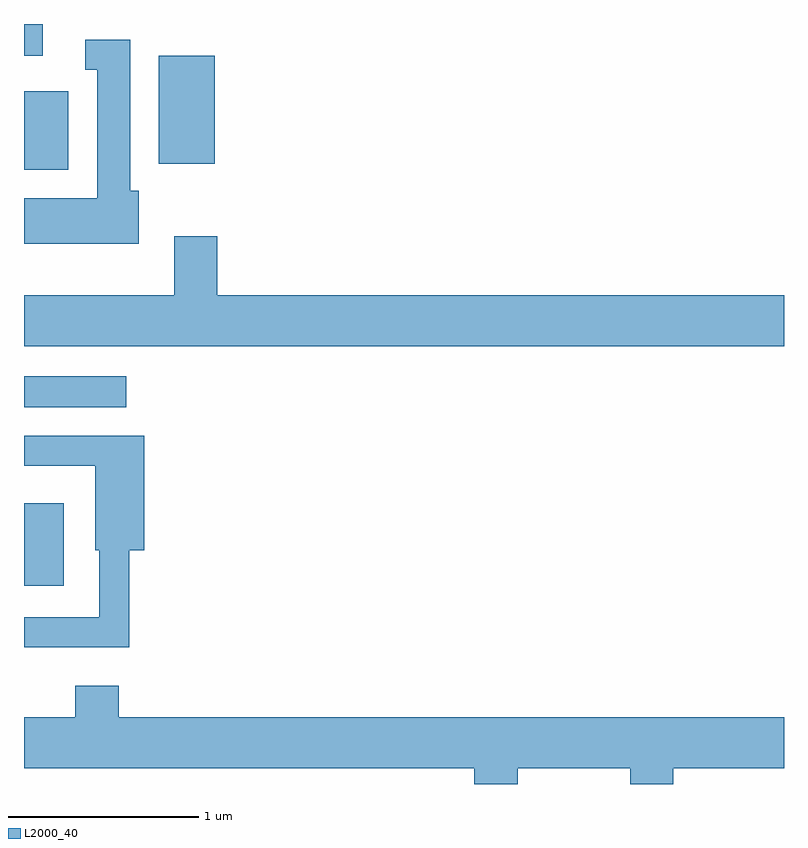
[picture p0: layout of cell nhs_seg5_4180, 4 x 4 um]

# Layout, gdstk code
import gdstk
lib = gdstk.Library(unit=1e-6, precision=1e-09)
def R(c, l, rs):  # rectangles x0, y0, x1, y1
    for r in rs: c.add(gdstk.rectangle(r[:2], r[2:], *l))
def P(c, l, *ps):  # polygons
    for p in ps: c.add(gdstk.Polygon(p, *l))
L2000_40 = (2000, 40)

nhs_seg5_4180 = lib.new_cell('nhs_seg5_4180')
R(nhs_seg5_4180, L2000_40, [(309.611,1431.116,309.819,1431.549), (309.611,1432.056,310.148,1432.219), (309.611,1433.306,309.844,1433.719), (310.321,1433.336,310.614,1433.904), (309.611,1433.906,309.709,1434.072)])
P(nhs_seg5_4180, L2000_40, [(310.214,1433.194),(310.169,1433.194),(310.169,1433.989),(309.933,1433.989),(309.933,1433.831),(309.996,1433.831),(309.996,1433.154),(309.611,1433.154),(309.611,1432.916),(310.214,1432.916)],
  [(313.611,1432.644),(310.629,1432.644),(310.629,1432.954),(310.401,1432.954),(310.401,1432.644),(309.611,1432.644),(309.611,1432.376),(313.611,1432.376)],
  [(310.164,1431.301),(310.244,1431.301),(310.244,1431.904),(309.611,1431.904),(309.611,1431.746),(309.986,1431.746),(309.986,1431.301),(310.006,1431.301),(310.006,1430.949),(309.611,1430.949),(309.611,1430.791),(310.164,1430.791)],
  [(312.209,1430.156),(312.801,1430.156),(312.801,1430.072),(313.029,1430.072),(313.029,1430.156),(313.611,1430.156),(313.611,1430.424),(310.109,1430.424),(310.109,1430.589),(309.881,1430.589),(309.881,1430.424),(309.611,1430.424),(309.611,1430.156),(311.981,1430.156),(311.981,1430.072),(312.209,1430.072)])

lib.write_gds('nhs_seg5_4180.gds')
